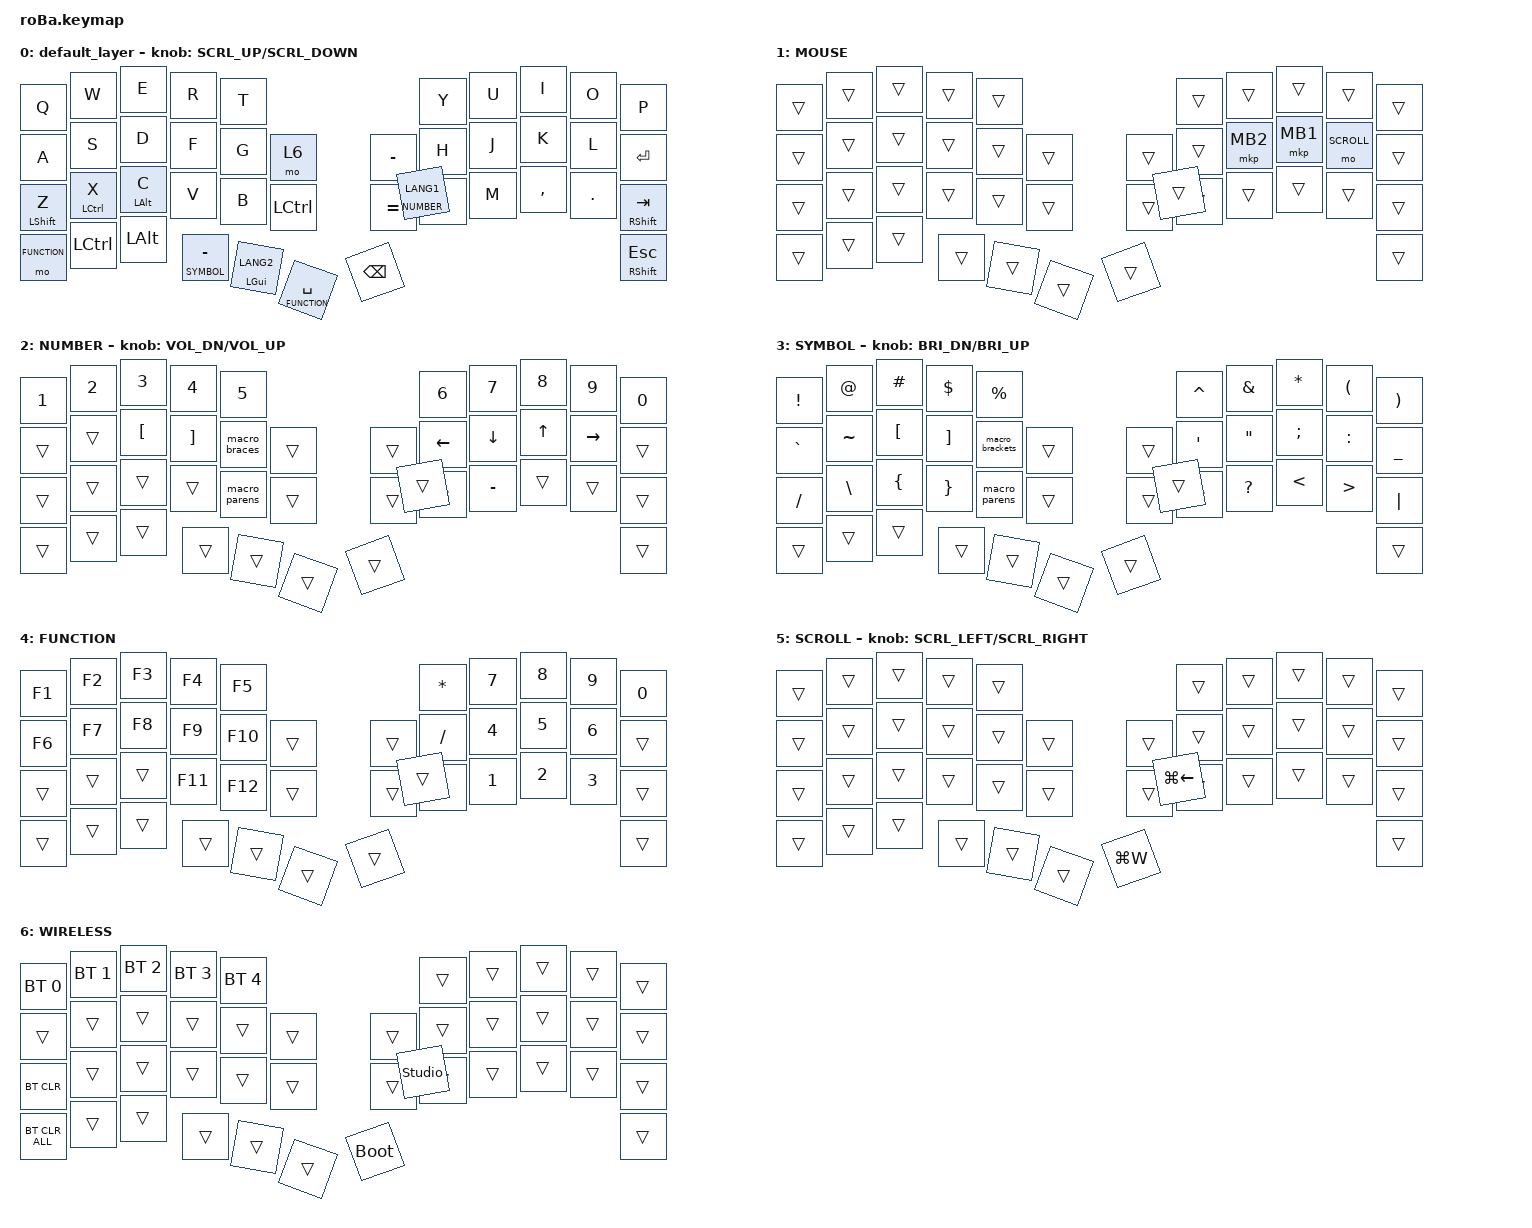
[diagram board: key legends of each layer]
#define ZMK_POINTING_DEFAULT_SCRL_VAL 150

#include <dt-bindings/zmk/input_transform.h>
#include <input/processors.dtsi>
#include <zephyr/dt-bindings/input/input-event-codes.h>
#include <behaviors.dtsi>
#include <dt-bindings/zmk/bt.h>
#include <dt-bindings/zmk/keys.h>
#include <dt-bindings/zmk/pointing.h>

// レイヤー定義

#define MOUSE 1
#define NUMBER 2
#define SYMBOL 3
#define FUNCTION 4
#define SCROLL 5
#define WIRELESS 6

/ {
    macros {
        macro_ctrl_space: macro_ctrl_space {
            compatible = "zmk,behavior-macro";
            #binding-cells = <0>;
            wait-ms = <10>;
            tap-ms = <10>;
            bindings =
                <&macro_press>,
                <&kp LCTRL>,
                <&macro_tap>,
                <&kp SPACE>,
                <&macro_release>,
                <&kp LCTRL>;
        };

        /* ()を入力してカーソルを中に戻す */

        macro_parens: macro_parens {
            compatible = "zmk,behavior-macro";
            #binding-cells = <0>;
            wait-ms = <10>;
            tap-ms = <10>;
            bindings = <&kp LPAR &kp RPAR &kp LEFT>;
        };

        /* []を入力してカーソルを中に戻す */

        macro_brackets: macro_brackets {
            compatible = "zmk,behavior-macro";
            #binding-cells = <0>;
            wait-ms = <10>;
            tap-ms = <10>;
            bindings = <&kp LBKT &kp RBKT &kp LEFT>;
        };

        /* {}を入力してカーソルを中に戻す */

        macro_braces: macro_braces {
            compatible = "zmk,behavior-macro";
            #binding-cells = <0>;
            wait-ms = <10>;
            tap-ms = <10>;
            bindings = <&kp LBRC &kp RBRC &kp LEFT>;
        };

        /* <>を入力する */

        macro_angles: macro_angles {
            compatible = "zmk,behavior-macro";
            #binding-cells = <0>;
            wait-ms = <10>;
            tap-ms = <10>;
            bindings = <&kp LT &kp GT>;
        };

        /* ''を入力する */

        macro_squotes: macro_squotes {
            compatible = "zmk,behavior-macro";
            #binding-cells = <0>;
            wait-ms = <10>;
            tap-ms = <10>;
            bindings = <&kp SQT &kp SQT>;
        };

        /* ""を入力する */

        macro_dquotes: macro_dquotes {
            compatible = "zmk,behavior-macro";
            #binding-cells = <0>;
            wait-ms = <10>;
            tap-ms = <10>;
            bindings = <&kp DQT &kp DQT>;
        };

        macro_if: if {
            compatible = "zmk,behavior-macro";
            #binding-cells = <0>;
            bindings = <&kp LPAR &kp RPAR &kp SPACE &kp LBRC &kp RBRC>;
            label = "IF";
        };
    };

    combos {
        compatible = "zmk,combos";

        // Bluetoothレイヤー(6)呼び出し : 右端縦3キー同時押し

        BluetoothLayer {
            bindings = <&mo WIRELESS>;
            key-positions = <42 21 33>;
        };

        combo_sqt {
            bindings = <&kp SQT>;
            key-positions = <20 19>;
        };

        combo_semi {
            bindings = <&kp SEMI>;
            key-positions = <19 18>;
        };

        combo_slash {
            bindings = <&kp SLASH>;
            key-positions = <31 32>;
        };

        combo_grave {
            bindings = <&kp GRAVE>;
            key-positions = <7 8>;
        };

        combo_m_if {
            bindings = <&macro_if>;
            key-positions = <18 19 13 12>;
        };

        combo_esc {
            bindings = <&kp ESC>;
            key-positions = <18 20>;
            timeout-ms = <60>;
        };

        combo_back_slash {
            bindings = <&kp BSLH>;
            key-positions = <29 30>;
        };

        combo_at {
            bindings = <&kp AT>;
            key-positions = <5 6>;
        };

        bs {
            bindings = <&kp LANG1>;
            key-positions = <10 21>;
        };

        l2 {
            bindings = <&kp LANG2>;
            key-positions = <11 20>;
        };
    };

    behaviors {
        // 長押しでLGUI (Cmd)、単押しでCtrl+Spaceマクロ

        gui_ctrl_space: gui_ctrl_space {
            compatible = "zmk,behavior-hold-tap";
            label = "GUI_CTRL_SPACE";
            #binding-cells = <2>;
            tapping-term-ms = <200>;    // 長押しと判定されるまでの時間
            quick-tap-ms = <150>;       // 素早く2回叩いた時の挙動調整
            flavor = "hold-preferred";   // 単押し（マクロ）を優先する設定
            bindings = <&kp>, <&macro_ctrl_space>;
        };

        // Caps Lockをダブルタップで発動させる設定

        td_caps: td_caps {
            compatible = "zmk,behavior-tap-dance";
            label = "TD_CAPS";
            #binding-cells = <0>;
            tapping-term-ms = <200>;
            bindings = <&none>, <&kp CAPS>;

            // 1タップ目は何もしない（あるいは別のキー）、2タップでCaps
        };

        // カスタムHold-Tap: ホールドでLCMD、タップでLANG2、ダブルタップでCaps
        // ※gui_enをベースに、タップ部分をtd_capsと組み合わせたような挙動にします

        hm_caps: hm_caps {
            compatible = "zmk,behavior-hold-tap";
            label = "HM_CAPS";
            #binding-cells = <2>;

            // ホールド判定を少し短めにして、Commandとしての反応を速くする

            tapping-term-ms = <200>;

            // 連続入力時の判定を安定させる

            quick-tap-ms = <175>;

            // タップ判定よりもホールド（Command）を優先

            flavor = "hold-preferred";
            bindings = <&kp>, <&td_caps_lang>;
        };

        // LANG2とCAPSのタップダンス

        td_caps_lang: td_caps_lang {
            compatible = "zmk,behavior-tap-dance";
            label = "TD_CAPS_LANG";
            #binding-cells = <0>;
            tapping-term-ms = <250>;
            bindings = <&kp LANG2>, <&kp CAPS>;

            // 1タップで英数、2タップでCaps
        };

        re_kp: sensor_rotate_kp {
            compatible = "zmk,behavior-sensor-rotate-var";
            #sensor-binding-cells = <2>;
            bindings = <&kp>, <&kp>;
        };

        mouse_scrl: mouse_wheel_scrl {
            compatible = "zmk,behavior-sensor-rotate-var";
            #sensor-binding-cells = <2>;
            bindings = <&msc>, <&msc>;

            tap-ms = <20>;
        };

        // タップで英数、ダブルタップでかな

        td_enjp: td_enjp {
            compatible = "zmk,behavior-tap-dance";
            label = "TD_ENJP";
            #binding-cells = <0>;
            tapping-term-ms = <270>;
            bindings = <&kp LANG2>, <&kp LANG1>;
        };

        // 長押しGUI、タップで英数かな切り替え

        gui_en: gui_en {
            compatible = "zmk,behavior-hold-tap";
            label = "GUI_EN";
            #binding-cells = <2>;
            tapping-term-ms = <129>;
            flavor = "balanced";
            hold-trigger-on-release;
            bindings = <&kp>, <&td_enjp>;
        };

        // 一般的なHold-Tap (Hold: Modifier, Tap: Key)

        hm: hm {
            compatible = "zmk,behavior-hold-tap";
            label = "HM";
            #binding-cells = <2>;
            tapping-term-ms = <160>;
            quick-tap-ms = <190>;
            flavor = "hold-preferred";
            bindings = <&kp>, <&kp>;
        };

        // 一般的なLayer-Tap (Hold: Layer, Tap: Key)

        lt_k: lt_k {
            compatible = "zmk,behavior-hold-tap";
            label = "LT_K";
            #binding-cells = <2>;
            tapping-term-ms = <160>;
            flavor = "hold-preferred";
            quick-tap-ms = <10>;
            bindings = <&mo>, <&kp>;
        };

        // スペース用Hold-Tap

        st: st {
            compatible = "zmk,behavior-hold-tap";
            label = "ST";
            #binding-cells = <2>;
            tapping-term-ms = <180>;
            quick-tap-ms = <195>;
            require-prior-idle-ms = <100>;
            flavor = "tap-preferred";
            bindings = <&kp>, <&kp>;
        };

        // Ctrl併用時に単語削除(Alt+BS)化

        bs_m: bs_m {
            compatible = "zmk,behavior-mod-morph";
            label = "BS_M";
            #binding-cells = <0>;
            bindings = <&kp BSPC>, <&kp LA(BSPC)>;

            mods = <(MOD_LCTL)>;
        };

        // 右親指用：長押しLayer 1、タップBSPC（Ctrl時は単語削除）、連打長押しでLayer優先

        l1_bs: l1_bs {
            compatible = "zmk,behavior-hold-tap";
            label = "L1_BS";
            #binding-cells = <2>;
            tapping-term-ms = <160>;
            flavor = "hold-preferred";
            quick-tap-ms = <0>; // 連打時のBS長押しを禁止
            bindings = <&mo>, <&bs_m>;
        };

        stl: stl {
            compatible = "zmk,behavior-hold-tap";
            label = "STL";
            #binding-cells = <2>;
            tapping-term-ms = <195>;
            quick-tap-ms = <180>;
            require-prior-idle-ms = <100>;
            flavor = "tap-preferred";
            bindings = <&mo>, <&kp>;
        };

        stmo: stmo {
            compatible = "zmk,behavior-hold-tap";
            label = "STMO";
            #binding-cells = <2>;
            tapping-term-ms = <196>;
            quick-tap-ms = <175>;
            require-prior-idle-ms = <90>;
            flavor = "tap-preferred";
            bindings = <&mt>, <&kp>;
        };
    };

    keymap {
        compatible = "zmk,keymap";

        default_layer {
            bindings = <
&kp Q         &kp W        &kp E       &kp R               &kp T                                               &kp Y               &kp U  &kp I      &kp O    &kp P
&kp A         &kp S        &kp D       &kp F               &kp G           &mo 6                    &kp MINUS  &kp H               &kp J  &kp K      &kp L    &kp RET
&st LSHIFT Z  &st LCTRL X  &st LALT C  &kp V               &kp B           &kp LCTRL                &kp EQUAL  &kp N               &kp M  &kp COMMA  &kp DOT  &st RSHIFT TAB
&mo FUNCTION  &kp LCTRL    &kp LALT    &lt_k SYMBOL MINUS  &hm LGUI LANG2  &stl FUNCTION SPACE      &kp BSPC   &lt_k NUMBER LANG1                             &hm RSHIFT ESC
            >;

            sensor-bindings = <&mouse_scrl SCRL_UP SCRL_DOWN>;
        };

        //1 マウス操作用

        MOUSE {
            bindings = <
&trans  &trans  &trans  &trans  &trans                      &trans  &trans    &trans    &trans      &trans
&trans  &trans  &trans  &trans  &trans  &trans      &trans  &trans  &mkp MB2  &mkp MB1  &mo SCROLL  &trans
&trans  &trans  &trans  &trans  &trans  &trans      &trans  &trans  &trans    &trans    &trans      &trans
&trans  &trans  &trans  &trans  &trans  &trans      &trans  &trans                                  &trans
            >;
        };

        //2 数字・基本記号・矢印キー

        NUMBER {
            bindings = <
&kp N1  &kp N2  &kp N3    &kp N4    &kp N5                             &kp N6     &kp N7     &kp N8  &kp N9     &kp N0
&trans  &trans  &kp LBKT  &kp RBKT  &macro_braces  &trans      &trans  &kp LEFT   &kp DOWN   &kp UP  &kp RIGHT  &trans
&trans  &trans  &trans    &trans    &macro_parens  &trans      &trans  &kp EQUAL  &kp MINUS  &trans  &trans     &trans
&trans  &trans  &trans    &trans    &trans         &trans      &trans  &trans                                   &trans
            >;

            sensor-bindings = <&re_kp C_VOL_DN C_VOL_UP>;
        };

        //3 記号

        SYMBOL {
            bindings = <
&kp EXCL   &kp AT     &kp HASH  &kp DLLR  &kp PRCNT                            &kp CARET  &kp AMPS   &kp ASTRK  &kp LPAR   &kp RPAR
&kp GRAVE  &kp TILDE  &kp LBKT  &kp RBKT  &macro_brackets  &trans      &trans  &kp SQT    &kp DQT    &kp SEMI   &kp COLON  &kp UNDER
&kp SLASH  &kp BSLH   &kp LBRC  &kp RBRC  &macro_parens    &trans      &trans  &kp PLUS   &kp QMARK  &kp LT     &kp GT     &kp PIPE
&trans     &trans     &trans    &trans    &trans           &trans      &trans  &trans                                      &trans
            >;

            sensor-bindings = <&re_kp C_BRI_DN C_BRI_UP>;
        };

        //4 F1〜F12・テンキー

        FUNCTION {
            bindings = <
&kp F1  &kp F2  &kp F3  &kp F4   &kp F5                       &kp ASTRK  &kp N7  &kp N8  &kp N9  &kp N0
&kp F6  &kp F7  &kp F8  &kp F9   &kp F10  &trans      &trans  &kp SLASH  &kp N4  &kp N5  &kp N6  &trans
&trans  &trans  &trans  &kp F11  &kp F12  &trans      &trans  &kp UNDER  &kp N1  &kp N2  &kp N3  &trans
&trans  &trans  &trans  &trans   &trans   &trans      &trans  &trans                             &trans
            >;
        };

        //5 スクロール操作用

        SCROLL {
            bindings = <
&trans  &trans  &trans  &trans  &trans                         &trans        &trans  &trans  &trans  &trans
&trans  &trans  &trans  &trans  &trans  &trans      &trans     &trans        &trans  &trans  &trans  &trans
&trans  &trans  &trans  &trans  &trans  &trans      &trans     &trans        &trans  &trans  &trans  &trans
&trans  &trans  &trans  &trans  &trans  &trans      &kp LG(W)  &kp LG(LEFT)                          &trans
            >;

            sensor-bindings = <&mouse_scrl SCRL_LEFT SCRL_RIGHT>;
        };

        //6 通信・システム設定

        WIRELESS {
            bindings = <
&bt BT_SEL 0    &bt BT_SEL 1  &bt BT_SEL 2  &bt BT_SEL 3  &bt BT_SEL 4                           &trans          &trans  &trans  &trans  &trans
&trans          &trans        &trans        &trans        &trans        &trans      &trans       &trans          &trans  &trans  &trans  &trans
&bt BT_CLR      &trans        &trans        &trans        &trans        &trans      &trans       &trans          &trans  &trans  &trans  &trans
&bt BT_CLR_ALL  &trans        &trans        &trans        &trans        &trans      &bootloader  &studio_unlock                          &trans
            >;
        };
    };
};
